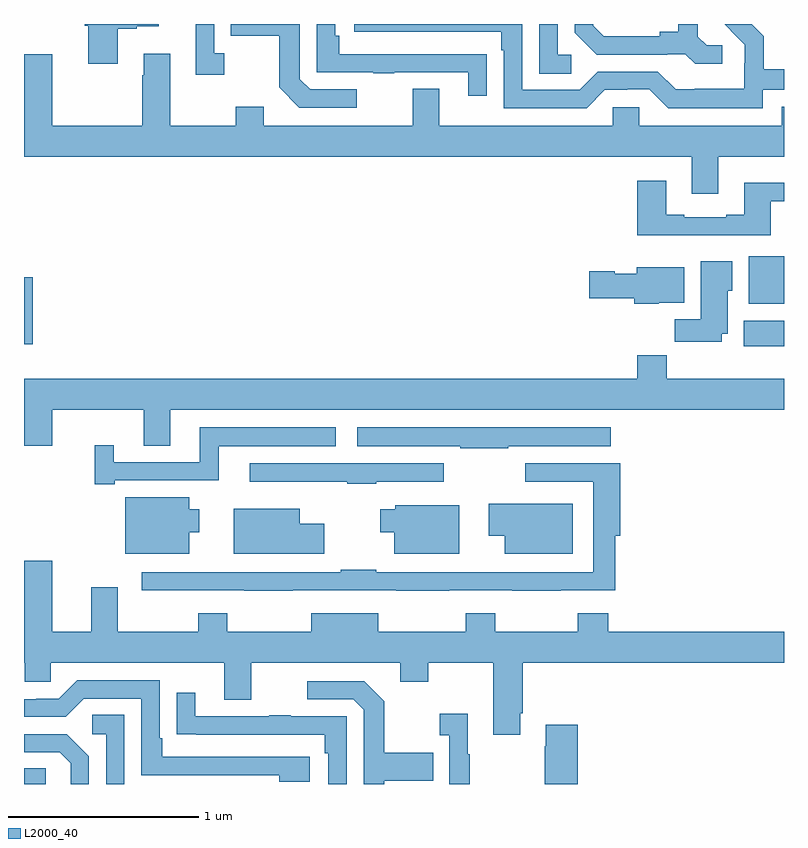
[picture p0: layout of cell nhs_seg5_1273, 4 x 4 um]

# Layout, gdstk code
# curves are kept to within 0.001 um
import gdstk
lib = gdstk.Library(unit=1e-6, precision=1e-09)
def R(c, l, rs):  # rectangles x0, y0, x1, y1
    for r in rs: c.add(gdstk.rectangle(r[:2], r[2:], *l))
def P(c, l, *ps):  # polygons
    for p in ps: c.add(gdstk.Polygon(p, *l))
L2000_40 = (2000, 40)

nhs_seg5_1273 = lib.new_cell('nhs_seg5_1273')
R(nhs_seg5_1273, L2000_40, [(189,846.799,189.114,846.881), (192.788,849.104,193,849.238), (189,849.114,189.047,849.466), (192.815,849.326,193,849.577)])
P(nhs_seg5_1273, L2000_40, [(192.888,850.452),(193,850.452),(193,850.561),(192.893,850.561),(192.893,850.735),(192.829,850.799),(192.687,850.799),(192.794,850.69),(192.794,850.593),(192.792,850.593),(192.792,850.459),(192.529,850.459),(192.529,850.455),(192.429,850.455),(192.336,850.548),(192.021,850.548),(191.925,850.452),(191.622,850.452),(191.622,850.799),(190.737,850.799),(190.737,850.758),(191.513,850.758),(191.513,850.661),(191.526,850.661),(191.526,850.356),(191.961,850.356),(192.057,850.452),(192.176,850.452),(192.176,850.455),(192.291,850.455),(192.391,850.355),(192.888,850.355)],
  [(192.676,850.686),(192.594,850.686),(192.547,850.733),(192.547,850.799),(192.443,850.799),(192.443,850.757),(192.347,850.757),(192.347,850.734),(192.052,850.734),(191.995,850.791),(191.995,850.799),(191.898,850.799),(191.898,850.754),(192.014,850.638),(192.386,850.638),(192.386,850.641),(192.48,850.641),(192.532,850.589),(192.676,850.589)],
  [(190.75,850.455),(190.506,850.455),(190.452,850.509),(190.452,850.799),(190.087,850.799),(190.087,850.738),(190.344,850.738),(190.344,850.465),(190.449,850.359),(190.75,850.359)],
  [(190.054,850.646),(190.002,850.646),(190.002,850.799),(189.905,850.799),(189.905,850.533),(190.054,850.533)],
  [(191.435,850.64),(191.333,850.64),(191.333,850.641),(190.658,850.641),(190.658,850.738),(190.638,850.738),(190.638,850.799),(190.542,850.799),(190.542,850.545),(190.837,850.545),(190.837,850.54),(190.949,850.54),(190.949,850.545),(191.339,850.545),(191.339,850.422),(191.435,850.422)],
  [(189.493,850.775),(189.593,850.775),(189.593,850.787),(189.709,850.787),(189.709,850.799),(189.32,850.799),(189.32,850.791),(189.338,850.791),(189.338,850.59),(189.493,850.59)],
  [(191.881,850.638),(191.808,850.638),(191.808,850.799),(191.712,850.799),(191.712,850.537),(191.881,850.537)],
  [(191.045,850.459),(191.045,850.264),(190.261,850.264),(190.261,850.363),(190.114,850.363),(190.114,850.264),(189.769,850.264),(189.769,850.642),(189.629,850.642),(189.629,850.529),(189.622,850.529),(189.622,850.264),(189.148,850.264),(189.148,850.639),(189,850.639),(189,850.1),(192.515,850.1),(192.515,849.906),(192.655,849.906),(192.655,850.1),(193,850.1),(193,850.363),(192.989,850.363),(192.989,850.264),(192.237,850.264),(192.237,850.362),(192.099,850.362),(192.099,850.264),(191.185,850.264),(191.185,850.459)],
  [(192.931,849.867),(193,849.867),(193,849.964),(192.791,849.964),(192.791,849.796),(192.695,849.796),(192.695,849.783),(192.475,849.783),(192.475,849.796),(192.379,849.796),(192.379,849.973),(192.227,849.973),(192.227,849.686),(192.931,849.686)],
  [(192.673,849.17),(192.703,849.17),(192.703,849.396),(192.727,849.396),(192.727,849.55),(192.563,849.55),(192.563,849.244),(192.424,849.244),(192.424,849.126),(192.673,849.126)],
  [(192.342,849.332),(192.475,849.332),(192.475,849.52),(192.224,849.52),(192.224,849.484),(192.108,849.484),(192.108,849.497),(191.976,849.497),(191.976,849.355),(192.212,849.355),(192.212,849.326),(192.342,849.326)],
  [(189.769,848.768),(193,848.768),(193,848.932),(192.383,848.932),(192.383,849.056),(192.227,849.056),(192.227,848.932),(189,848.932),(189,848.58),(189.148,848.58),(189.148,848.768),(189.629,848.768),(189.629,848.578),(189.769,848.578)],
  [(191.549,848.576),(192.088,848.576),(192.088,848.677),(190.755,848.677),(190.755,848.576),(191.296,848.576),(191.296,848.566),(191.549,848.566)],
  [(189.478,848.397),(190.024,848.397),(190.024,848.576),(190.642,848.576),(190.642,848.677),(189.926,848.677),(189.926,848.493),(189.472,848.493),(189.472,848.581),(189.373,848.581),(189.373,848.377),(189.478,848.377)],
  [(190.415,847.818),(190.96,847.818),(190.96,847.817),(191.237,847.817),(191.237,847.818),(191.569,847.818),(191.569,847.817),(191.825,847.817),(191.825,847.818),(192.113,847.818),(192.113,848.105),(192.137,848.105),(192.137,848.487),(191.637,848.487),(191.637,848.391),(191.997,848.391),(191.997,847.914),(190.853,847.914),(190.853,847.927),(190.666,847.927),(190.666,847.914),(189.621,847.914),(189.621,847.818),(190.159,847.818),(190.159,847.817),(190.415,847.817)],
  [(190.853,848.391),(191.209,848.391),(191.209,848.487),(190.188,848.487),(190.188,848.39),(190.546,848.39),(190.546,848.389),(190.7,848.389),(190.7,848.379),(190.853,848.379)],
  [(189.871,848.123),(189.922,848.123),(189.922,848.245),(189.871,848.245),(189.871,848.308),(189.533,848.308),(189.533,848.012),(189.871,848.012)],
  [(191.887,848.275),(191.447,848.275),(191.447,848.105),(191.531,848.105),(191.531,848.012),(191.887,848.012)],
  [(191.29,848.266),(190.953,848.266),(190.953,848.245),(190.874,848.245),(190.874,848.123),(190.949,848.123),(190.949,848.012),(191.29,848.012)],
  [(190.579,848.17),(190.45,848.17),(190.45,848.248),(190.103,848.248),(190.103,848.012),(190.579,848.012)],
  [(191.611,847.171),(191.624,847.171),(191.624,847.436),(193,847.436),(193,847.6),(192.074,847.6),(192.074,847.699),(191.914,847.699),(191.914,847.6),(191.481,847.6),(191.481,847.699),(191.326,847.699),(191.326,847.6),(190.864,847.6),(190.864,847.699),(190.511,847.699),(190.511,847.6),(190.071,847.6),(190.071,847.699),(189.916,847.699),(189.916,847.6),(189.493,847.6),(189.493,847.834),(189.353,847.834),(189.353,847.6),(189.148,847.6),(189.148,847.975),(189,847.975),(189,847.436),(189.003,847.436),(189.003,847.338),(189.141,847.338),(189.141,847.436),(190.055,847.436),(190.055,847.242),(190.195,847.242),(190.195,847.436),(190.979,847.436),(190.979,847.337),(191.127,847.337),(191.127,847.436),(191.471,847.436),(191.471,847.059),(191.611,847.059)],
  [(190.504,846.942),(189.727,846.942),(189.727,847.039),(189.714,847.039),(189.714,847.344),(189.279,847.344),(189.183,847.248),(189.065,847.248),(189.065,847.245),(189,847.245),(189,847.152),(189.219,847.152),(189.315,847.248),(189.618,847.248),(189.618,846.846),(190.343,846.846),(190.343,846.812),(190.504,846.812)],
  [(190.897,846.815),(191.153,846.815),(191.153,846.963),(190.897,846.963),(190.897,847.235),(190.791,847.341),(190.491,847.341),(190.491,847.245),(190.734,847.245),(190.788,847.191),(190.788,846.799),(190.897,846.799)],
  [(190.698,847.155),(190.403,847.155),(190.403,847.16),(190.291,847.16),(190.291,847.155),(189.901,847.155),(189.901,847.279),(189.805,847.279),(189.805,847.06),(189.907,847.06),(189.907,847.059),(190.582,847.059),(190.582,846.962),(190.602,846.962),(190.602,846.799),(190.698,846.799)],
  [(191.347,846.955),(191.335,846.955),(191.335,847.168),(191.187,847.168),(191.187,847.055),(191.238,847.055),(191.238,846.799),(191.347,846.799)],
  [(189.528,847.163),(189.36,847.163),(189.36,847.062),(189.432,847.062),(189.432,846.799),(189.528,846.799)],
  [(191.915,847.111),(191.747,847.111),(191.747,846.998),(191.74,846.998),(191.74,846.799),(191.915,846.799)],
  [(189.342,846.946),(189.226,847.062),(189,847.062),(189,846.966),(189.188,846.966),(189.245,846.909),(189.245,846.799),(189.342,846.799)])

lib.write_gds('nhs_seg5_1273.gds')
